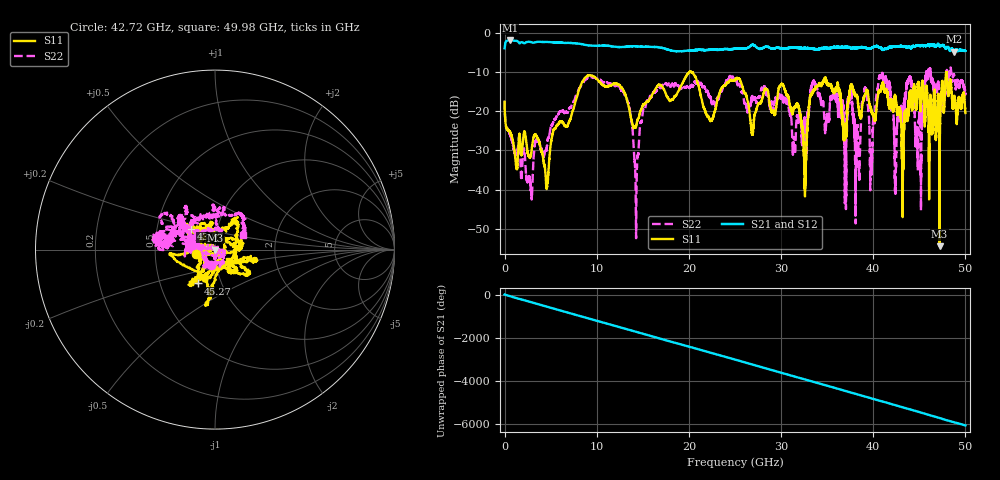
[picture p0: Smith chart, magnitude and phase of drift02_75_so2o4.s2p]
!Created with skrf (http://scikit-rf.org).
# Hz S RI R 50.0
!freq ReS11 ImS11 ReS21 ImS21 ReS12 ImS12 ReS22 ImS22
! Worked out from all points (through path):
!   10001 points, 300 kHz to 50 GHz, reference 50 ohm
!   highest |S21| = -2.00 dB at 580.3 MHz (marker M1); lowest = -4.8 dB at 48.77 GHz (marker M2)
!   group delay of S21, straight-line fit = 337 ps
!   lowest |S11| = -54.4 dB at 47.2 GHz (marker M3), VSWR 1.00, Z = 49.9 - j0.173 ohm
!   |S11| at or under -10 dB: start of sweep to 20.07 GHz; 20.20762 GHz to 20.22148 GHz (13.86 MHz wide, 0.0686 % of centre); 20.24 GHz to end of sweep (the widest 3 of 5)
!   |S22| runs from -52.4 to -8.9 dB; largest |S21 - S12| = 0.032
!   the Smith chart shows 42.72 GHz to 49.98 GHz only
!   S11 on the Smith chart (normalised r, x): 42.72 GHz: 0.81, -0.04; 43.97 GHz: 0.75, +0.18; 45.27 GHz: 0.78, -0.31; 49.98 GHz: 1.16, -0.15
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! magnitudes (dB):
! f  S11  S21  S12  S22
! 300 kHz  -17.6  -4.0  -4.0  -17.4
! 580.3 MHz  -25.3  -2.0  -2.0  -26.0
! 4.575 GHz  -39.4  -2.4  -2.4  -29.2
! 8.335 GHz  -13.0  -2.9  -2.9  -13.2
! 13.01 GHz  -15.3  -3.6  -3.6  -15.7
! 14.28 GHz  -23.8  -3.5  -3.5  -49.7
! 16.67 GHz  -13.3  -3.7  -3.7  -14.5
! 25 GHz  -12.1  -4.1  -4.1  -12.1
! 26.86 GHz  -25.7  -3.1  -3.1  -16.5
! 30.19 GHz  -13.3  -4.1  -4.1  -16.8
! 32.58 GHz  -38.7  -4.0  -3.9  -25.1
! 33.34 GHz  -15.7  -4.0  -4.1  -13.4
! 37.49 GHz  -14.5  -3.8  -3.9  -15.8
! 38.28 GHz  -16.7  -3.9  -3.9  -23.8
! 41.67 GHz  -18.4  -3.8  -3.9  -13.1
! 42.72 GHz  -19.4  -3.5  -3.5  -21.3
! 43.97 GHz  -15.2  -3.7  -3.7  -11.5
! 45.27 GHz  -13.5  -3.3  -3.2  -21.8
! 47.2 GHz  -54.4  -3.5  -3.4  -16.7
! 48.77 GHz  -16.9  -4.8  -4.8  -10.7
! 49.98 GHz  -19.9  -4.6  -4.6  -15.1
! 50 GHz  -20.5  -4.6  -4.6  -15.4
